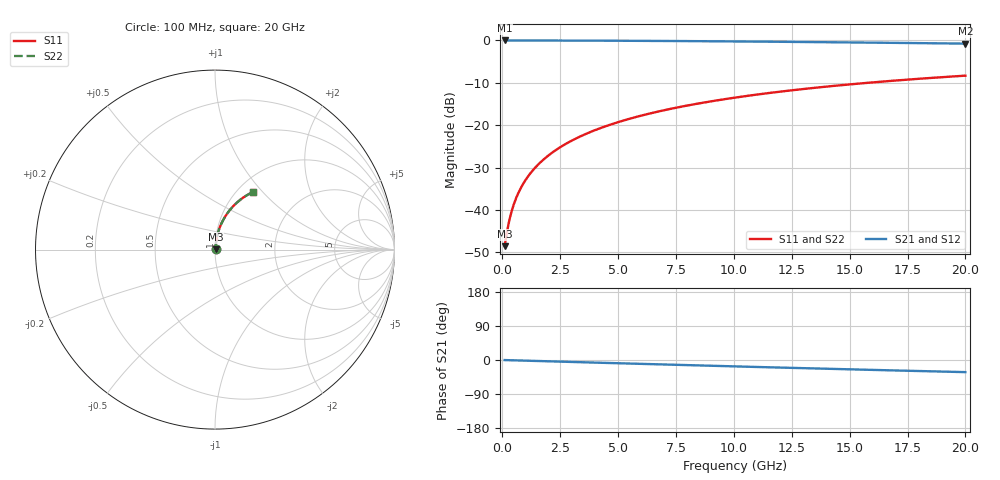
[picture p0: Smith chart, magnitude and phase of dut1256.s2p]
! Touchstone file exported from HFSS 2026.1.0
!  File:  C:/ffzhzh/LocalFiles/Ansys_Project_Files/temp_train_BSMRDL_1256_1783177420_22436.aedt
!  Generated:  11:04:54 PM Jul  4, 2026
!  Design:  BSMRDL
!  Project:  temp_train_BSMRDL_1256_1783177420_22436
! Variables:
!  h_bsmrdl = 3.04um
!  h_ox = 20um
!  h_rdl = 5um
!  h_sub = 80um
!  h_tmrdl = 5um
!  h_tsv = 80um
!  h_via = 3um
!  l_bsmrdl = 371.39um
!  l_sub = 771.39um
!  l_tmrdl = 200um
!  m_sub = 200um
!  pitch = 56.28um
!  r_tsv = 6um
!  s_tmrdl = 10um
!  w_bsmrdl = 15.55um
!  w_sub = 500um
!  w_tmrdl = 12um
!  x_tsv_center1 = 206um
!  x_tsv_center2 = 592.94um
!  x_tsv_center3 = 804.94um
!  x_tsv_center4 = 1191.88um
!  x_tsv_center5 = 1403.88um
!  x_tsv_center6 = 1790.82um
# GHz S MA R 50.000000
! Terminal data exported
! Port[1] = BSM_RDL1_1_T1
! Port[2] = BSM_RDL1_1_T2
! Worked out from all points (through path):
!   200 points, 100 MHz to 20 GHz, reference 50 ohm
!   highest |S21| = -0.03 dB at 100 MHz (marker M1); lowest = -0.8 dB at 20 GHz (marker M2)
!   group delay of S21, straight-line fit = 4.46 ps
!   lowest |S11| = -48.5 dB at 100 MHz (marker M3), VSWR 1.01, Z = 50.3 + j0.23 ohm
!   |S11| at or under -10 dB: start of sweep to 15.81 GHz
!   |S22| runs from -48.5 to -8.3 dB; largest |S21 - S12| = 3.5e-15
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0.1  0.003738 37.7  0.997 -0.2  0.997 -0.2  0.003738 37.7
! Gamma 0 0 0 0
! Port Impedance 50 0 50 0
0.2  0.00547 56.4  0.997 -0.4  0.997 -0.4  0.00547 56.4
0.3  0.007485 65.3  0.9969 -0.5  0.9969 -0.5  0.007485 65.3
0.4  0.009585 70.2  0.9968 -0.7  0.9968 -0.7  0.009585 70.2
0.5  0.01171 73.3  0.9967 -0.9  0.9967 -0.9  0.01171 73.3
0.6  0.01385 75.3  0.9966 -1.1  0.9966 -1.1  0.01385 75.3
0.8  0.01814 77.9  0.9965 -1.4  0.9965 -1.4  0.01814 77.9
1.1  0.0246 80.0  0.9962 -1.9  0.9962 -1.9  0.0246 80.0
1.5  0.03324 81.2  0.9959 -2.6  0.9959 -2.6  0.03324 81.2
1.8  0.03973 81.7  0.9956 -3.1  0.9956 -3.1  0.03973 81.7
2.1  0.04623 81.8  0.9953 -3.6  0.9953 -3.6  0.04623 81.8
2.7  0.05921 81.6  0.9944 -4.6  0.9944 -4.6  0.05921 81.7
3.5  0.07645 81.0  0.9931 -6.0  0.9931 -6.0  0.07645 81.0
4.2  0.09144 80.1  0.9916 -7.2  0.9916 -7.2  0.09144 80.2
5  0.1084 79.1  0.9896 -8.6  0.9896 -8.6  0.1084 79.1
5.9  0.1274 77.8  0.9871 -10.1  0.9871 -10.1  0.1274 77.8
6.8  0.146 76.4  0.9842 -11.6  0.9842 -11.6  0.146 76.4
8.3  0.1766 74.1  0.9786 -14.1  0.9786 -14.1  0.1766 74.1
10.1  0.2121 71.3  0.971 -17.0  0.971 -17.0  0.2121 71.3
13.4  0.274 66.3  0.9544 -22.2  0.9544 -22.2  0.274 66.3
16.7  0.3311 61.4  0.9355 -27.2  0.9355 -27.2  0.3311 61.4
20  0.3833 56.7  0.9149 -32.0  0.9149 -32.0  0.3833 56.7
